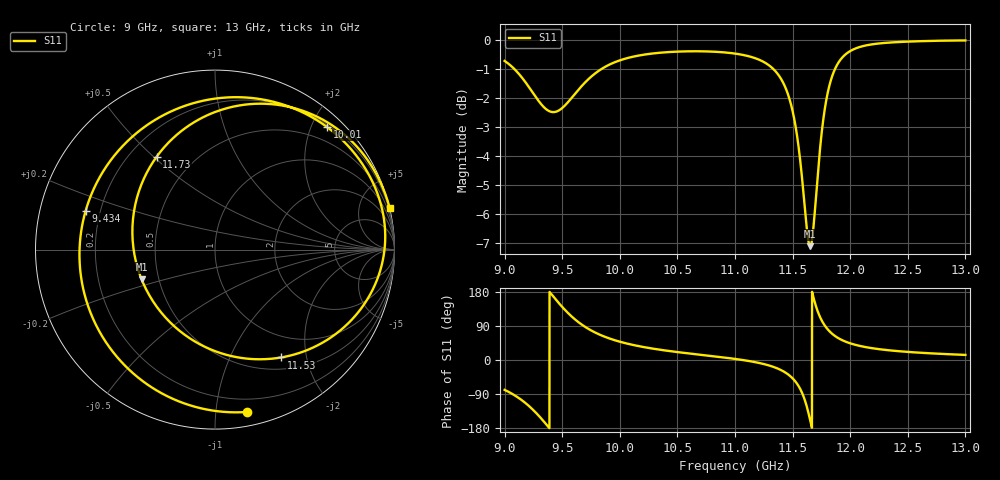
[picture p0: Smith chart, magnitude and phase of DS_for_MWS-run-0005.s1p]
! TOUCHSTONE file generated by CST DESIGN STUDIO
! Date and time: Tue Feb  4 14:18:26 2025
! Project name: C:\Work\MatlabApps\UnitCellOptimizationMatlab\CST\unitcell.cst
! Tree item: Tasks\Sweep1\SPara1\S-Parameters
! Header version: 2024
! Port assignment regex: !\s*Touchstone port\s*([0-9]+)\s*=\s*(CST MWS port|CST DES external port|CST DES block port)\s*(.+)\s* \(\"(.*)\"\)(\s*mode\s*([0-9]+))?.*
! Touchstone port assignment:
! Touchstone port 1 = CST DES external port 1 ("")
# GHz S MA R 50
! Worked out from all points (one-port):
!   4001 points, 9 GHz to 13 GHz, reference 50 ohm
!   lowest |S11| = -7.1 dB at 11.65 GHz (marker M1), VSWR 2.58, Z = 20 - j8.21 ohm
!   |S11| at or under -10 dB: nowhere
!   S11 on the Smith chart (normalised r, x): 9 GHz: 0.10, -1.21; 9.434 GHz: 0.14, +0.14; 10.01 GHz: 0.24, +2.26; 11.53 GHz: 0.66, -1.58; 11.73 GHz: 0.31, +0.51; 13 GHz: -0.00, +8.49
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9  0.9219 -78.8
9.118  0.8783 -99.3
9.215  0.8287 -122.4
9.334  0.7696 -160.0
9.434  0.7524 163.4
9.5  0.7644 140.1
9.589  0.799 112.9
9.687  0.8416 89.8
9.835  0.8912 65.6
10  0.924 48.3
10.01  0.9254 47.4
10.5  0.9566 20.9
11  0.9492 2.9
11.332  0.893 -18.0
11.427  0.8384 -31.1
11.5  0.7553 -48.4
11.529  0.7046 -58.6
11.595  0.5434 -96.3
11.652  0.4413 -158.0
11.687  0.4904 158.3
11.726  0.6116 122.0
11.767  0.7319 96.8
11.815  0.8291 77.4
11.897  0.9151 57.7
12  0.9588 44.0
12.188  0.9846 31.3
12.5  0.9955 21.3
13  1 13.4
